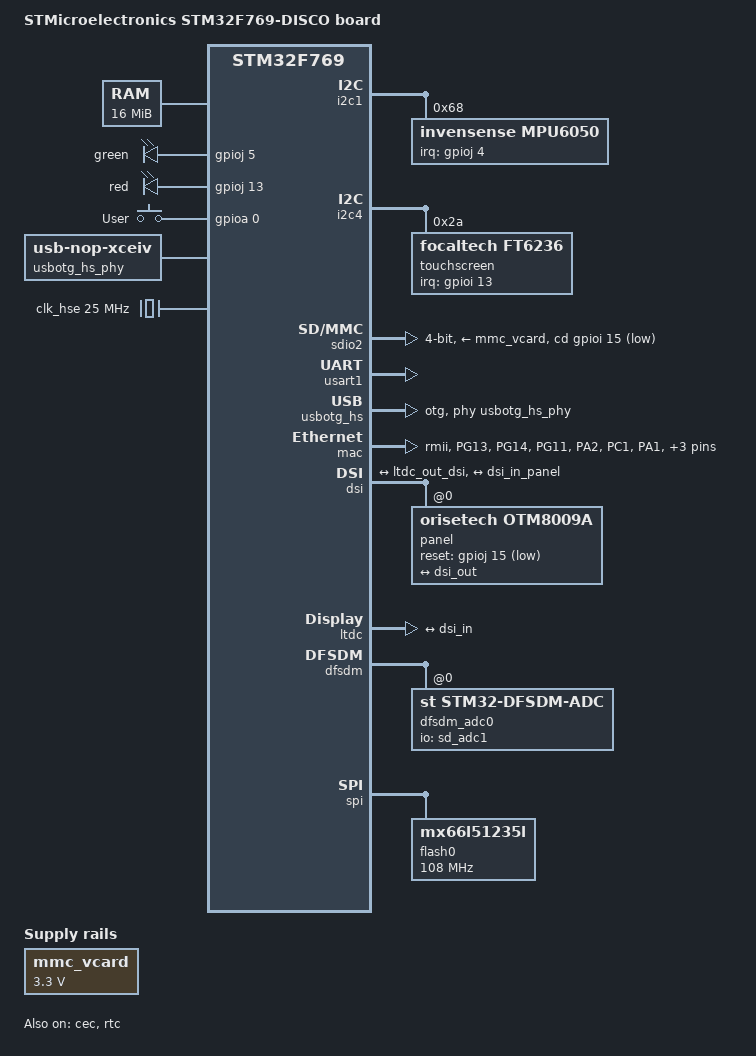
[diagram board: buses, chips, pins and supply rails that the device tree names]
/*
 * Copyright 2017 - Vikas MANOCHA <vikas.manocha@st.com>
 *
 * This file is dual-licensed: you can use it either under the terms
 * of the GPL or the X11 license, at your option. Note that this dual
 * licensing only applies to this file, and not this project as a
 * whole.
 *
 *  a) This file is free software; you can redistribute it and/or
 *     modify it under the terms of the GNU General Public License as
 *     published by the Free Software Foundation; either version 2 of the
 *     License, or (at your option) any later version.
 *
 *     This file is distributed in the hope that it will be useful,
 *     but WITHOUT ANY WARRANTY; without even the implied warranty of
 *     MERCHANTABILITY or FITNESS FOR A PARTICULAR PURPOSE.  See the
 *     GNU General Public License for more details.
 *
 * Or, alternatively,
 *
 *  b) Permission is hereby granted, free of charge, to any person
 *     obtaining a copy of this software and associated documentation
 *     files (the "Software"), to deal in the Software without
 *     restriction, including without limitation the rights to use,
 *     copy, modify, merge, publish, distribute, sublicense, and/or
 *     sell copies of the Software, and to permit persons to whom the
 *     Software is furnished to do so, subject to the following
 *     conditions:
 *
 *     The above copyright notice and this permission notice shall be
 *     included in all copies or substantial portions of the Software.
 *
 *     THE SOFTWARE IS PROVIDED "AS IS", WITHOUT WARRANTY OF ANY KIND,
 *     EXPRESS OR IMPLIED, INCLUDING BUT NOT LIMITED TO THE WARRANTIES
 *     OF MERCHANTABILITY, FITNESS FOR A PARTICULAR PURPOSE AND
 *     NONINFRINGEMENT. IN NO EVENT SHALL THE AUTHORS OR COPYRIGHT
 *     HOLDERS BE LIABLE FOR ANY CLAIM, DAMAGES OR OTHER LIABILITY,
 *     WHETHER IN AN ACTION OF CONTRACT, TORT OR OTHERWISE, ARISING
 *     FROM, OUT OF OR IN CONNECTION WITH THE SOFTWARE OR THE USE OR
 *     OTHER DEALINGS IN THE SOFTWARE.
 */

/dts-v1/;
#include "stm32f746.dtsi"
#include "stm32f769-pinctrl.dtsi"
#include <dt-bindings/input/input.h>
#include <dt-bindings/gpio/gpio.h>

/ {
	model = "STMicroelectronics STM32F769-DISCO board";
	compatible = "st,stm32f769-disco", "st,stm32f769";

	chosen {
		bootargs = "root=/dev/ram";
		stdout-path = "serial0:115200n8";
	};

	memory@c0000000 {
		device_type = "memory";
		reg = <0xC0000000 0x1000000>;
	};

	aliases {
		serial0 = &usart1;
	};

	leds {
		compatible = "gpio-leds";
		green {
			gpios = <&gpioj 5 GPIO_ACTIVE_HIGH>;
			linux,default-trigger = "heartbeat";
		};
		red {
			gpios = <&gpioj 13 GPIO_ACTIVE_HIGH>;
		};
	};

	gpio_keys {
		compatible = "gpio-keys";
		#address-cells = <1>;
		#size-cells = <0>;
		autorepeat;
		button@0 {
			label = "User";
			linux,code = <KEY_HOME>;
			gpios = <&gpioa 0 GPIO_ACTIVE_HIGH>;
		};
	};

	usbotg_hs_phy: usb-phy {
		#phy-cells = <0>;
		compatible = "usb-nop-xceiv";
		clocks = <&rcc 0 STM32F7_AHB1_CLOCK(OTGHSULPI)>;
		clock-names = "main_clk";
	};

	mmc_vcard: mmc_vcard {
		compatible = "regulator-fixed";
		regulator-name = "mmc_vcard";
		regulator-min-microvolt = <3300000>;
		regulator-max-microvolt = <3300000>;
	};
};

&rcc {
	compatible = "st,stm32f769-rcc", "st,stm32f746-rcc", "st,stm32-rcc";
};

&cec {
	pinctrl-0 = <&cec_pins_a>;
	pinctrl-names = "default";
	status = "okay";
};

&clk_hse {
	clock-frequency = <25000000>;
};

&i2c1 {
	pinctrl-0 = <&i2c1_pins_b>;
	pinctrl-names = "default";
	i2c-scl-rising-time-ns = <185>;
	i2c-scl-falling-time-ns = <20>;
	status = "okay";

	mpu6050: accelerometer@68 {
		compatible = "invensense,mpu6050";
		reg = <0x68>;
		interrupt-parent = <&gpioj>;
		interrupts = <4 1>;
		mount-matrix = "-0.984807753012208",  /* x0 */
		               "0",                   /* y0 */
		               "-0.173648177666930",  /* z0 */
		               "0",                   /* x1 */
		               "-1",                  /* y1 */
		               "0",                   /* z1 */
		               "-0.173648177666930",  /* x2 */
		               "0",                   /* y2 */
		               "0.984807753012208";   /* z2 */
	};
};

&i2c4 {
	pinctrl-0 = <&i2c4_pins>;
	pinctrl-names = "default";
	status = "okay";
	touchscreen@2a {
		compatible = "focaltech,ft6236"; // ft6206 ?
		reg = <0x2a>;
		interrupts = <13 2>;
		interrupt-parent = <&gpioi>;
		interrupt-controller;
		touchscreen-size-x = <480>;
		touchscreen-size-y = <800>;
		status = "okay";
	};
};

&rtc {
	status = "okay";
};

&sdio2 {
	status = "okay";
	vmmc-supply = <&mmc_vcard>;
	cd-gpios = <&gpioi 15 GPIO_ACTIVE_LOW>;
	broken-cd;
	pinctrl-names = "default", "opendrain";
	pinctrl-0 = <&sdio_pins_b>;
	pinctrl-1 = <&sdio_pins_od_b>;
	bus-width = <4>;
};

&usart1 {
	pinctrl-0 = <&usart1_pins_a>;
	pinctrl-names = "default";
	status = "okay";
};

&usbotg_hs {
	dr_mode = "otg";
	phys = <&usbotg_hs_phy>;
	phy-names = "usb2-phy";
	pinctrl-0 = <&usbotg_hs_pins_a>;
	pinctrl-names = "default";
	status = "okay";
};

&pinctrl {
	ethernet_rmii: rmii@0 {
		pins {
			pinmux = <STM32_PINMUX('G',13, AF11)>, /* ETH_RMII_TXD0 */
				 <STM32_PINMUX('G',14, AF11)>, /* ETH_RMII_TXD1 */
				 <STM32_PINMUX('G',11, AF11)>, /* ETH_RMII_TX_EN */
				 <STM32_PINMUX('A', 2, AF11)>, /* ETH_MDIO */
				 <STM32_PINMUX('C', 1, AF11)>, /* ETH_MDC */
				 <STM32_PINMUX('A', 1, AF11)>, /* ETH_RMII_REF_CLK */
				 <STM32_PINMUX('A', 7, AF11)>, /* ETH_RMII_CRS_DV */
				 <STM32_PINMUX('C', 4, AF11)>, /* ETH_RMII_RXD0 */
				 <STM32_PINMUX('C', 5, AF11)>; /* ETH_RMII_RXD1 */
			slew-rate = <2>;
		};
	};

};

&mac {
	pinctrl-0 = <&ethernet_rmii>;
	phy-mode = "rmii";

	rx-fifo-depth = <128>;
	tx-fifo-depth = <128>;
};

&dma1 {
	status = "okay";
};

&dma2 {
	status = "okay";
};

&dsi {
	#address-cells = <1>;
	#size-cells = <0>;
	status = "okay";

	ports {
		#address-cells = <1>;
		#size-cells = <0>;

		port@0 {
			reg = <0>;
			dsi_in: endpoint {
				remote-endpoint = <&ltdc_out_dsi>;
			};
		};

		port@1 {
			reg = <1>;
			dsi_out: endpoint {
				remote-endpoint = <&dsi_in_panel>;
			};
		};

	};

	panel: panel {
		compatible = "orisetech,otm8009a";
		reg = <0>; /* dsi virtual channel (0..3) */
		reset-gpios = <&gpioj 15 GPIO_ACTIVE_LOW>;
		status = "okay";

		port {
			dsi_in_panel: endpoint {
				remote-endpoint = <&dsi_out>;
			};
		};
	};
};

&ltdc {
	status = "okay";

	port {
		ltdc_out_dsi: endpoint {
			remote-endpoint = <&dsi_in>;
		};
	};
};

&dfsdm {
	pinctrl-names = "default", "sleep";
	pinctrl-0 = <&dfsdm_clkout_pins_a &dfsdm_data1_pins_a>;
	pinctrl-1 = <&dfsdm_clkout_sleep_pins_a &dfsdm_data1_sleep_pins_a>;
	spi-max-frequency = <2000000>;
	status = "okay";

	dfsdm_adc0: filter@0 {
		compatible = "st,stm32-dfsdm-adc";
		#io-channel-cells = <1>;
		reg = <0>;
		interrupts = <99>;
		st,adc-channels = <1>;
		st,adc-channel-names = "in1";
		st,adc-channel-types = "SPI_R";
		st,adc-channel-clk-src = "CLKOUT";
		io-channels = <&sd_adc1>;
		st,filter-order = <1>;
		status = "okay";
	};
};

&spi {
	status = "okay";
	flash0: mx66l51235l {
		compatible = "mx66l51235l";
		spi-rx-bus-width = <4>;
		spi-max-frequency = <108000000>;
		#address-cells = <1>;
		#size-cells = <1>;
	};
};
